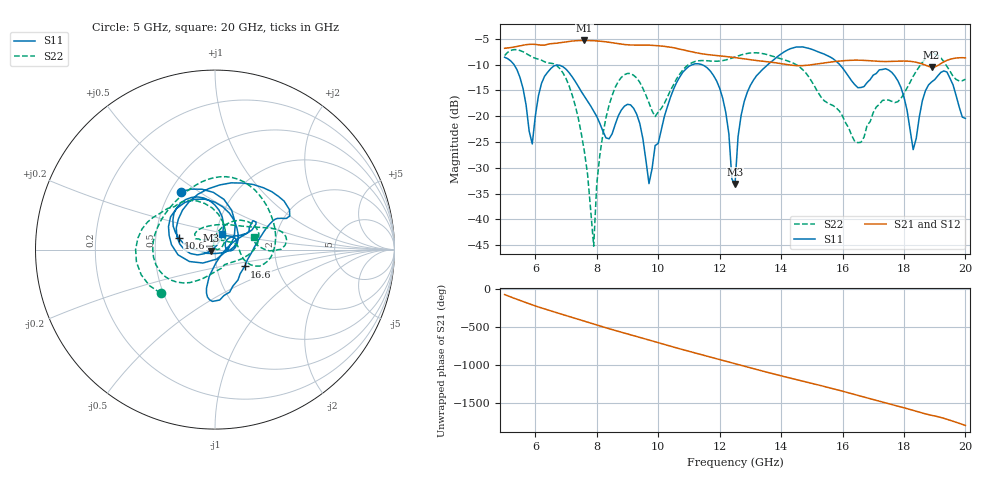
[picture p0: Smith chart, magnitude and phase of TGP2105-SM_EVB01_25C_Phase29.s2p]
! Date: Wednesday, June 05, 2013  1:51 PM
! Filename: C:\Data\Mike_Arnold\TGP2105-SM\Over_Temp\TGP2105-SM_EVB01_25C_Phase29.s2p
! Comments:
!^VDC(V):5.000
!^VDC(mA):0.133
!%Freq(GHz),S11(dB),S11(ang),S21(dB),S21(ang),S12(dB),S12(ang),S22(dB),S22(ang)
# GHz  S  DB  R  50
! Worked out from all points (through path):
!   151 points, 5 GHz to 20 GHz, reference 50 ohm
!   highest |S21| = -5.29 dB at 7.6 GHz (marker M1); lowest = -10.5 dB at 18.9 GHz (marker M2)
!   lowest |S11| = -33.1 dB at 12.5 GHz (marker M3), VSWR 1.05, Z = 47.9 - j0.515 ohm
!   |S11| at or under -10 dB: 5.308 GHz to 11.11 GHz (5.802 GHz wide, 70.7 % of centre); 11.42 GHz to 13.57 GHz (2.141 GHz wide, 17.1 % of centre); 15.91 GHz to end of sweep
!   |S22| runs from -45.2 to -7.1 dB; largest |S21 - S12| = 0.0024
!   S11 on the Smith chart (normalised r, x): 5 GHz: 0.57, +0.43; 10.6 GHz: 0.66, +0.09; 16.6 GHz: 1.37, -0.27; 20 GHz: 1.06, +0.19
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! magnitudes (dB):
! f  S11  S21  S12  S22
! 5 GHz  -8.5  -6.8  -6.8  -8.2
! 5.9 GHz  -25.4  -6.0  -6.0  -8.5
! 6.5 GHz  -10.8  -5.9  -5.9  -9.7
! 7.5 GHz  -15.2  -5.3  -5.3  -23.5
! 7.6 GHz  -16.2  -5.3  -5.3  -27.0
! 7.9 GHz  -19.0  -5.3  -5.4  -45.2
! 8.1 GHz  -21.4  -5.4  -5.5  -27.5
! 8.6 GHz  -21.6  -5.8  -5.9  -14.4
! 9.2 GHz  -18.5  -6.2  -6.2  -12.1
! 9.7 GHz  -33.1  -6.2  -6.2  -17.4
! 10 GHz  -25.3  -6.3  -6.3  -19.2
! 10.6 GHz  -13.4  -6.8  -6.9  -12.7
! 11.9 GHz  -13.1  -8.2  -8.2  -9.3
! 12.5 GHz  -33.1  -8.6  -8.6  -8.5
! 12.7 GHz  -19.8  -8.8  -8.8  -8.1
! 13 GHz  -14.0  -9.0  -9.0  -7.7
! 15 GHz  -7.0  -10.0  -10.0  -13.3
! 16.6 GHz  -14.4  -9.1  -9.2  -25.1
! 17.5 GHz  -11.0  -9.4  -9.4  -16.9
! 18.3 GHz  -26.5  -9.4  -9.4  -12.2
! 18.9 GHz  -13.3  -10.5  -10.5  -7.9
! 20 GHz  -20.4  -8.7  -8.7  -12.8
